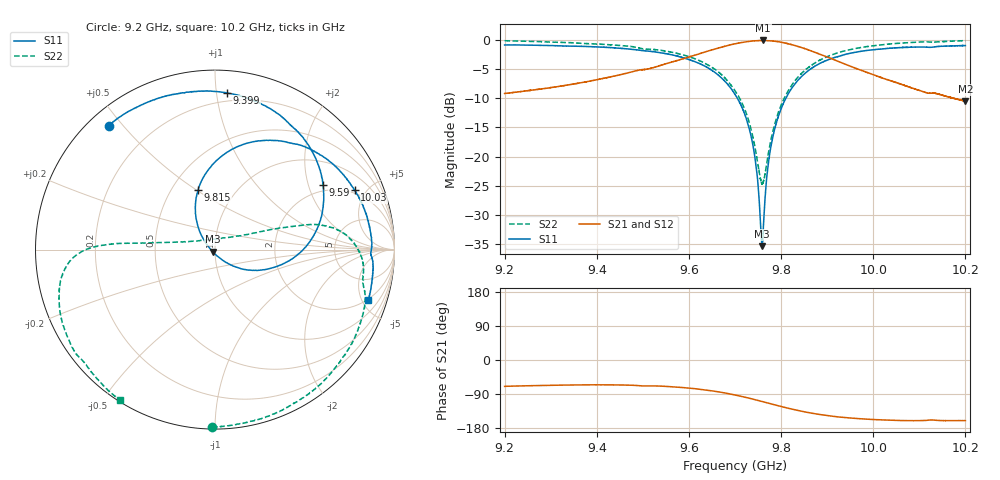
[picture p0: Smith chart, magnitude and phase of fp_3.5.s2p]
!Agilent Technologies,N5242A,MY51221714,A.09.90.19
!Agilent N5242A: A.09.90.19
!Date: Saturday, March 16, 2024 10:09:22
!Correction: S11(Full 2 Port(1,2))
!S21(Full 2 Port(1,2))
!S12(Full 2 Port(1,2))
!S22(Full 2 Port(1,2))
!S2P File: Measurements: S11, S21, S12, S22:
# Hz S  dB  R 50
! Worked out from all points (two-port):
!   16001 points, 9.2 GHz to 10.2 GHz, reference 50 ohm
!   highest |S21| = -0.05 dB at 9.761 GHz (marker M1); lowest = -10.5 dB at 10.2 GHz (marker M2)
!   |S21| within 3 dB of the highest: 9.594 GHz to 9.905 GHz (311.3 MHz wide, 3.19 % of centre); 9.905373 GHz to 9.905377 GHz (4.183 kHz wide, 4.22e-05 % of centre)
!   lowest |S11| = -35.4 dB at 9.759 GHz (marker M3), VSWR 1.03, Z = 48.8 - j1.16 ohm
!   |S11| at or under -10 dB: 9.705 GHz to 9.81 GHz (104.9 MHz wide, 1.07 % of centre)
!   |S22| runs from -24.7 to -0.1 dB; largest |S21 - S12| = 0.013
!   S11 on the Smith chart (normalised r, x): 9.2 GHz: 0.06, +0.46; 9.399 GHz: 0.14, +1.07; 9.59 GHz: 1.77, +2.50; 9.815 GHz: 0.67, +0.51; 10.03 GHz: 1.80, +4.18; 10.2 GHz: 1.88, -5.56
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9.2e9  -0.83 130.7  -9.16 -69.6  -9.15 -70.1  -0.09 -91.0
9.277688e9  -0.89 113.7  -8.42 -67.3  -8.38 -67.8  -0.25 -69.2
9.366688e9  -1.07 93.4  -7.31 -65.8  -7.28 -66.3  -0.53 -45.0
9.399062e9  -1.15 85.6  -6.80 -65.4  -6.79 -66.0  -0.64 -36.3
9.533375e9  -2.09 49.5  -4.46 -68.7  -4.46 -69.2  -1.68 -4.2
9.590188e9  -3.08 30.8  -3.12 -73.1  -3.12 -73.6  -2.60 5.9
9.645312e9  -4.95 9.4  -1.78 -80.6  -1.79 -81.1  -4.46 13.4
9.7e9  -9.30 -16.8  -0.63 -92.3  -0.61 -92.9  -8.68 18.6
9.737375e9  -17.40 -42.4  -0.14 -102.8  -0.13 -103.4  -16.13 29.4
9.746562e9  -22.16 -52.4  -0.09 -105.7  -0.07 -106.3  -19.84 41.9
9.7555e9  -31.39 -82.9  -0.07 -108.5  -0.05 -109.2  -23.97 73.7
9.758688e9  -35.40 -135.5  -0.07 -109.5  -0.05 -110.2  -24.63 94.2
9.761e9  -33.37 -178.4  -0.05 -110.3  -0.05 -110.9  -24.45 107.7
9.770125e9  -22.74 141.0  -0.08 -113.1  -0.08 -113.8  -20.46 147.4
9.77975e9  -17.48 129.9  -0.13 -116.3  -0.13 -116.9  -16.43 162.2
9.81525e9  -9.24 106.0  -0.60 -127.2  -0.60 -127.8  -8.74 174.1
9.866688e9  -4.81 79.3  -1.89 -140.4  -1.87 -140.8  -4.26 177.5
9.93775e9  -2.48 50.6  -4.09 -151.8  -4.09 -152.3  -1.84 -175.6
1.002594e10  -1.46 23.0  -6.67 -158.4  -6.66 -158.9  -0.74 -160.8
1.003338e10  -1.42 20.9  -6.87 -158.6  -6.85 -159.2  -0.67 -159.3
1.011175e10  -1.17 0.8  -8.93 -159.6  -8.93 -160.1  -0.28 -143.2
1.02e10  -0.93 -18.4  -10.49 -160.0  -10.47 -160.6  -0.08 -122.1
